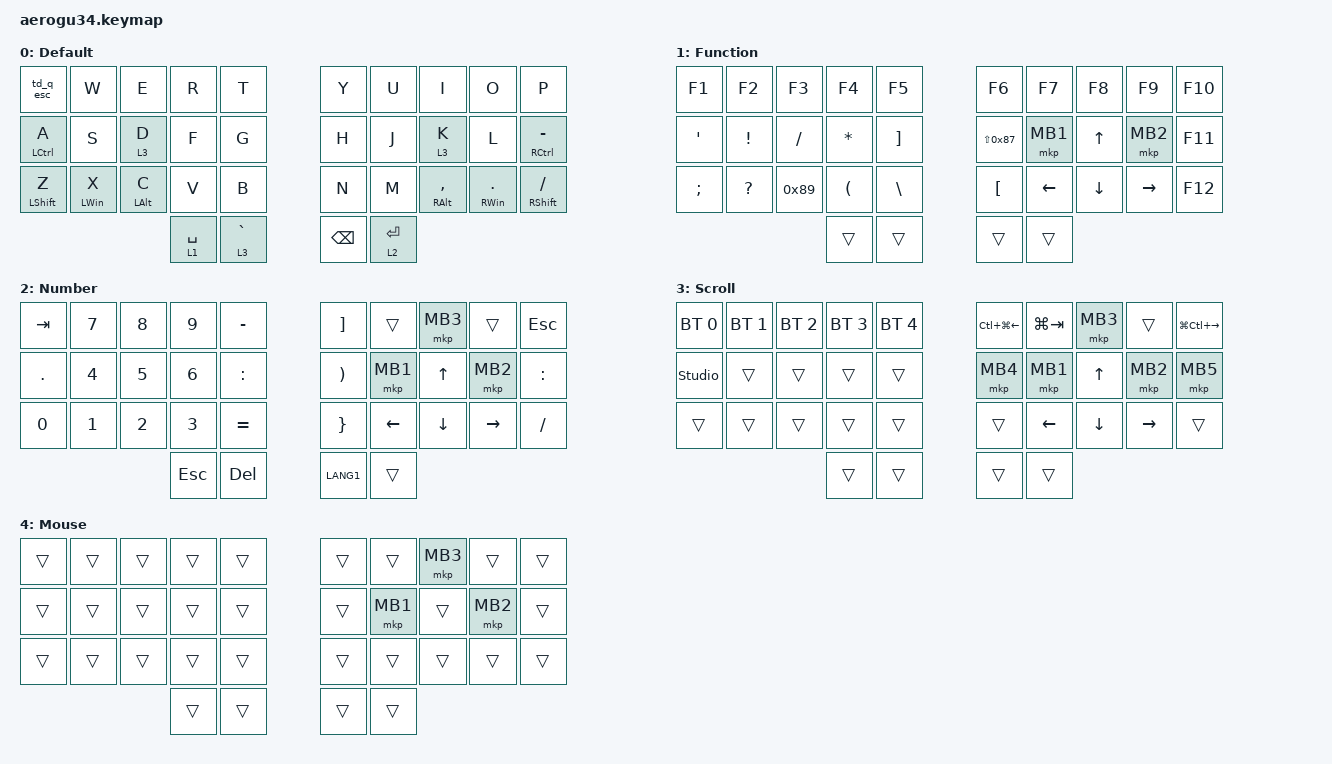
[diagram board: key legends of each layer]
#define ZMK_POINTING_DEFAULT_SCRL_VAL 200

#include <dt-bindings/zmk/mouse.h>
#include <behaviors.dtsi>
#include <dt-bindings/zmk/bt.h>
#include <dt-bindings/zmk/keys.h>
#include <dt-bindings/zmk/pointing.h>

&mt {
    tapping-term-ms = <300>;
    flavor = "balanced";
};

&lt { quick-tap-ms = <300>; };

/ {
    behaviors {
        td_q_esc: td_q_esc {
            compatible = "zmk,behavior-tap-dance";
            #binding-cells = <0>;
            tapping-term-ms = <150>;
            bindings = <&kp Q>, <&kp ESC>;
        };
    };

    combos {
        compatible = "zmk,combos";

        tab {
            bindings = <&kp TAB>;
            key-positions = <11 12>;
            layers = <0>;
        };

        stab {
            bindings = <&kp LS(TAB)>;
            key-positions = <12 13>;
        };

        btreset {
            bindings = <&bt BT_CLR>;
            key-positions = <0 4>;
            layers = <3>;
        };

        boot {
            bindings = <&bootloader>;
            key-positions = <1 2 3>;
            layers = <3>;
        };

        lwin {
            bindings = <&kp LEFT_WIN>;
            key-positions = <20 21>;
        };

        lalt {
            bindings = <&kp LEFT_ALT>;
            key-positions = <20 22>;
        };

        rwin {
            bindings = <&kp RIGHT_WIN>;
            key-positions = <29 28>;
        };

        ralt {
            bindings = <&kp RIGHT_ALT>;
            key-positions = <29 27>;
        };
    };

    keymap {
        compatible = "zmk,keymap";

        default_layer {
            display-name = "Default";
            bindings = <
&td_q_esc         &kp W  &kp E    &kp R  &kp T                                      &kp Y        &kp U  &kp I      &kp O    &kp P
&mt LCTRL A             &kp S  &lt 3 D  &kp F  &kp G                                      &kp H        &kp J  &lt 3 K    &kp L    &mt RCTRL MINUS
&mt LEFT_SHIFT Z  &mt LEFT_WIN X  &mt LEFT_ALT C    &kp V  &kp B                                      &kp N        &kp M  &mt RIGHT_ALT COMMA  &mt RIGHT_WIN DOT  &mt RIGHT_SHIFT SLASH
                                          &lt 1 SPACE  &lt 3 GRAVE    &kp BACKSPACE  &lt 2 ENTER
            >;
        };

        function_layer {
            display-name = "Function";
            bindings = <
&kp F1         &kp F2           &kp F3      &kp F4         &kp F5                               &kp F6             &kp F7    &kp F8    &kp F9     &kp F10
&kp SINGLE_QUOTE   &kp EXCLAMATION  &kp SLASH   &kp ASTERISK   &kp RIGHT_BRACKET                      &kp LS(0x87)       &mkp MB1  &kp UP    &mkp MB2   &kp F11
&kp SEMICOLON  &kp QUESTION     &kp 0x89    &kp LEFT_PARENTHESIS  &kp BACKSLASH                        &kp LEFT_BRACKET   &kp LEFT  &kp DOWN  &kp RIGHT  &kp F12
                                                            &trans           &trans    &trans     &trans
            >;
        };

        number_layer {
            display-name = "Number";
            bindings = <
&kp TAB               &kp N7        &kp N8        &kp N9        &kp MINUS                          &kp RIGHT_BRACKET  &trans    &mkp MB3  &trans     &kp ESC
&kp DOT       &kp NUMBER_4  &kp N5        &kp NUMBER_6  &kp COLON                          &kp RPAR           &mkp MB1  &kp UP    &mkp MB2   &kp COLON
&kp NUMBER_0  &kp NUMBER_1  &kp NUMBER_2  &kp NUMBER_3  &kp EQUAL                          &kp RIGHT_BRACE    &kp LEFT  &kp DOWN  &kp RIGHT  &kp SLASH
                                                                 &kp ESC    &kp DEL    &kp LANG1  &trans
            >;
        };

        scroll_layer {
            display-name = "Scroll";
            bindings = <
&bt BT_SEL 0  &bt BT_SEL 1  &bt BT_SEL 2  &bt BT_SEL 3  &bt BT_SEL 4                    &kp LC(LG(LEFT))  &kp LG(TAB)  &mkp MB3  &trans     &kp LG(LC(RIGHT))
&studio_unlock        &trans        &trans        &trans        &trans                          &mkp MB4          &mkp MB1     &kp UP    &mkp MB2   &mkp MB5
&trans        &trans        &trans        &trans        &trans                          &trans            &kp LEFT     &kp DOWN  &kp RIGHT  &trans
                                                        &trans        &trans    &trans  &trans
            >;
        };

        mouse_layer {
            display-name = "Mouse";
            bindings = <
&trans  &trans  &trans  &trans  &trans                    &trans  &trans    &mkp MB3  &trans    &trans
&trans  &trans  &trans  &trans  &trans                    &trans  &mkp MB1  &trans    &mkp MB2  &trans
&trans  &trans  &trans  &trans  &trans                    &trans  &trans    &trans    &trans    &trans
                                &trans  &trans    &trans  &trans
            >;
        };
    };
};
